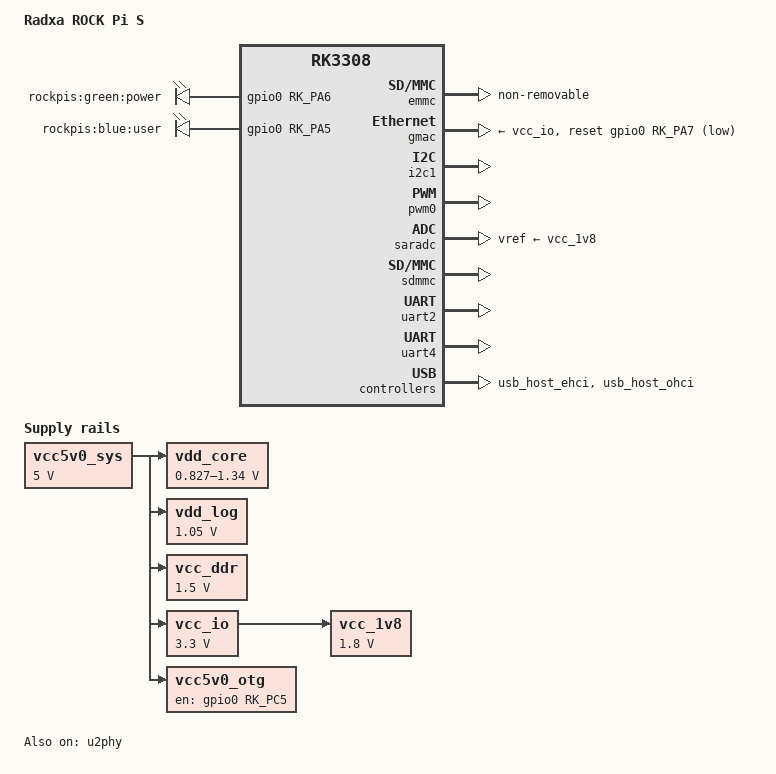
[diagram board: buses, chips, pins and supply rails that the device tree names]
// SPDX-License-Identifier: (GPL-2.0+ OR MIT)
/*
 * Copyright (c) 2019 Akash Gajjar <gajjar04akash@gmail.com>
 */

/dts-v1/;
#include "rk3308.dtsi"

/ {
	model = "Radxa ROCK Pi S";
	compatible = "radxa,rockpis", "rockchip,rk3308";

	aliases {
		ethernet0 = &gmac;
		mmc0 = &sdmmc;
		mmc1 = &emmc;
	};

	chosen {
		stdout-path = "serial2:1500000n8";
	};

	leds {
		compatible = "gpio-leds";
		pinctrl-names = "default";
		pinctrl-0 = <&green_led_gio>, <&heartbeat_led_gpio>;

		green-led {
			label = "rockpis:green:power";
			gpios = <&gpio0 RK_PA6 GPIO_ACTIVE_HIGH>;
			linux,default-trigger = "default-on";
			default-state = "on";
		};

		blue-led {
			label = "rockpis:blue:user";
			gpios = <&gpio0 RK_PA5 GPIO_ACTIVE_HIGH>;
			default-state = "on";
			linux,default-trigger = "heartbeat";
		};
	};

	vcc5v0_sys: vcc5v0-sys {
		compatible = "regulator-fixed";
		regulator-name = "vcc5v0_sys";
		regulator-always-on;
		regulator-boot-on;
		regulator-min-microvolt = <5000000>;
		regulator-max-microvolt = <5000000>;
	};

	vdd_core: vdd-core {
		compatible = "pwm-regulator";
		pwms = <&pwm0 0 5000 1>;
		regulator-name = "vdd_core";
		regulator-min-microvolt = <827000>;
		regulator-max-microvolt = <1340000>;
		regulator-init-microvolt = <1015000>;
		regulator-settling-time-up-us = <250>;
		regulator-always-on;
		regulator-boot-on;
		pwm-supply = <&vcc5v0_sys>;
	};

	vdd_log: vdd-log {
		compatible = "regulator-fixed";
		regulator-name = "vdd_log";
		regulator-always-on;
		regulator-boot-on;
		regulator-min-microvolt = <1050000>;
		regulator-max-microvolt = <1050000>;
		vin-supply = <&vcc5v0_sys>;
	};

	vcc_ddr: vcc-ddr {
		compatible = "regulator-fixed";
		regulator-name = "vcc_ddr";
		regulator-always-on;
		regulator-boot-on;
		regulator-min-microvolt = <1500000>;
		regulator-max-microvolt = <1500000>;
		vin-supply = <&vcc5v0_sys>;
	};

	vcc_1v8: vcc-1v8 {
		compatible = "regulator-fixed";
		regulator-name = "vcc_1v8";
		regulator-always-on;
		regulator-boot-on;
		regulator-min-microvolt = <1800000>;
		regulator-max-microvolt = <1800000>;
		vin-supply = <&vcc_io>;
	};

	vcc_io: vcc-io {
		compatible = "regulator-fixed";
		regulator-name = "vcc_io";
		regulator-always-on;
		regulator-boot-on;
		regulator-min-microvolt = <3300000>;
		regulator-max-microvolt = <3300000>;
		vin-supply = <&vcc5v0_sys>;
	};

	vcc5v0_otg: vcc5v0-otg {
		compatible = "regulator-fixed";
		regulator-name = "vcc5v0_otg";
		regulator-always-on;
		enable-active-high;
		pinctrl-names = "default";
		pinctrl-0 = <&otg_vbus_drv>;
		gpio = <&gpio0 RK_PC5 GPIO_ACTIVE_HIGH>;
		vin-supply = <&vcc5v0_sys>;
	};
};

&cpu0 {
	cpu-supply = <&vdd_core>;
};

&emmc {
	cap-mmc-highspeed;
	mmc-hs200-1_8v;
	non-removable;
	status = "okay";
};

&gmac {
	phy-supply = <&vcc_io>;
	clock_in_out = "input";
	snps,reset-gpio = <&gpio0 RK_PA7 GPIO_ACTIVE_LOW>;
	snps,reset-active-low;
	snps,reset-delays-us = <0 10000 50000>;
	tx_delay = <0x28>;
	rx_delay = <0x11>;
	status = "okay";
};

&i2c1 {
	status = "okay";
};

&pinctrl {
	pinctrl-names = "default";
	pinctrl-0 = <&rtc_32k>;

	leds {
		green_led_gio: green-led-gpio {
			rockchip,pins = <0 RK_PA6 RK_FUNC_GPIO &pcfg_pull_none>;
		};

		heartbeat_led_gpio: heartbeat-led-gpio {
			rockchip,pins = <0 RK_PA5 RK_FUNC_GPIO &pcfg_pull_none>;
		};
	};

	usb {
		otg_vbus_drv: otg-vbus-drv {
			rockchip,pins = <0 RK_PC5 RK_FUNC_GPIO &pcfg_pull_none>;
		};
	};
};

&pwm0 {
	status = "okay";
	pinctrl-0 = <&pwm0_pin_pull_down>;
};

&saradc {
	vref-supply = <&vcc_1v8>;
	status = "okay";
};

&sdmmc {
	cap-mmc-highspeed;
	cap-sd-highspeed;
	card-detect-delay = <300>;
	sd-uhs-sdr25;
	sd-uhs-sdr50;
	sd-uhs-sdr104;
	status = "okay";
};

&uart2 {
	status = "okay";
};

&uart4 {
	pinctrl-names = "default";
	pinctrl-0 = <&uart4_xfer &uart4_rts &uart4_cts>;
	status = "okay";
};

&u2phy {
	status = "okay";

	u2phy_host: host-port {
		status = "okay";
	};
};

&usb_host_ehci {
	status = "okay";
};

&usb_host_ohci {
	status = "okay";
};
